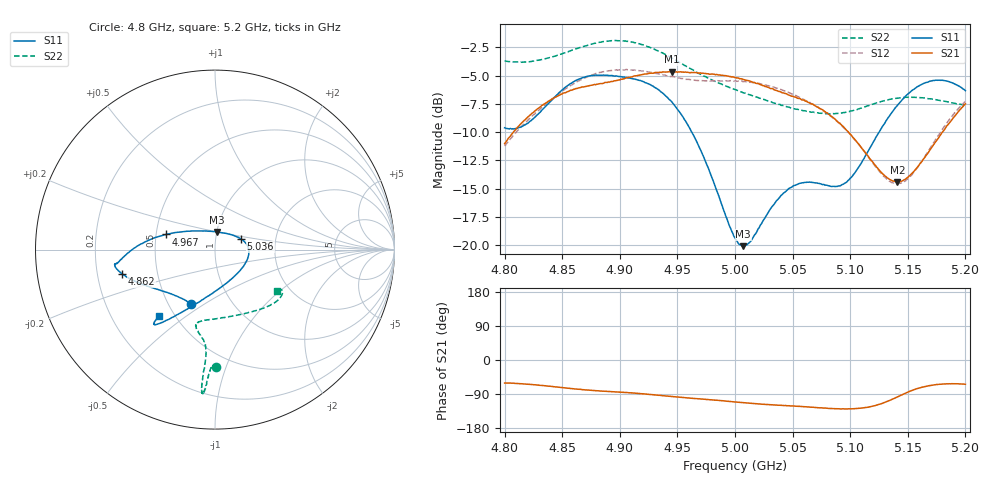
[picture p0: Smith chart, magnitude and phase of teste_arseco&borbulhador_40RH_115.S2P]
! Network Analyzer HP8722D
! Hewlett-Packard
! Data name: Linha & Wilkinson
! Saver's name: Rodrigo Anjos
! Comments: Teste da utilização de aquisição
! continua pelo VNA HP8722D
! Time and date: 15/4/2025 17:18
!  Frequency  S11  S21  S12  S22
# HZ  S  MA R 50
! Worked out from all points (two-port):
!   401 points, 4.8 GHz to 5.2 GHz, reference 50 ohm
!   highest |S21| = -4.64 dB at 4.945 GHz (marker M1); lowest = -14.4 dB at 5.141 GHz (marker M2)
!   |S21| within 3 dB of the highest: 4.832 GHz to 5.069 GHz (236.8 MHz wide, 4.78 % of centre); 5.198605 GHz to end of sweep
!   lowest |S11| = -20.1 dB at 5.007 GHz (marker M3), VSWR 1.22, Z = 50 + j9.94 ohm
!   |S11| at or under -10 dB: 4.962 GHz to 5.125 GHz (162.6 MHz wide, 3.22 % of centre)
!   |S22| runs from -8.4 to -1.9 dB; largest |S21 - S12| = 0.88
!   S11 on the Smith chart (normalised r, x): 4.8 GHz: 0.65, -0.44; 4.862 GHz: 0.31, -0.12; 4.967 GHz: 0.56, +0.10; 5.036 GHz: 1.33, +0.16; 5.2 GHz: 0.41, -0.40
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4.8e9  0.3308 -113.6  0.2812 -60.9  0.2745 -175.0  0.6535 -89.5
4.819e9  0.3441 -133.3  0.3643 -63.6  0.3522 -173.1  0.6487 -91.1
4.862e9  0.5366 -165.5  0.494 -76.6  0.5269 -176.3  0.7403 -93.5
4.867e9  0.5489 -167.4  0.5016 -78.1  0.5409 -177.2  0.755 -93.6
4.903e9  0.555 -172.0  0.5445 -85.3  0.5969 175.4  0.8013 -95.2
4.934e9  0.4856 -177.8  0.5808 -93.2  0.5727 172.0  0.7219 -95.5
4.945e9  0.4313 177.2  0.5864 -96.3  0.5579 172.3  0.6726 -95.2
4.967e9  0.2855 162.8  0.5793 -101.9  0.5355 174.1  0.5818 -95.0
5e9  0.1076 107.7  0.5518 -110.9  0.5338 176.5  0.4886 -99.2
5.007e9  0.09891 84.1  0.5418 -112.5  0.529 176.6  0.4728 -100.9
5.014e9  0.1045 62.1  0.53 -114.4  0.5272 176.4  0.4611 -102.5
5.036e9  0.1572 22.1  0.4836 -119.1  0.4953 175.1  0.4227 -103.7
5.049e9  0.1803 8.6  0.4566 -121.2  0.4679 174.6  0.4041 -100.8
5.067e9  0.1895 -10.9  0.4216 -124.5  0.4218 174.1  0.3877 -91.7
5.086e9  0.182 -41.3  0.3642 -128.5  0.3617 173.9  0.3812 -77.8
5.097e9  0.1901 -64.6  0.3216 -129.0  0.3219 174.5  0.3883 -68.7
5.134e9  0.3725 -115.8  0.1956 -107.1  0.1918 -159.8  0.4415 -43.3
5.141e9  0.4162 -119.7  0.1902 -97.2  0.1868 -148.8  0.4474 -40.2
5.153e9  0.4811 -124.7  0.2064 -81.1  0.2033 -130.2  0.4516 -35.9
5.17e9  0.5329 -128.3  0.2671 -66.8  0.2719 -113.0  0.4442 -32.0
5.184e9  0.5324 -129.7  0.3378 -62.9  0.3486 -107.1  0.4313 -31.1
5.2e9  0.4829 -130.2  0.4221 -63.9  0.4329 -105.9  0.4158 -33.4
